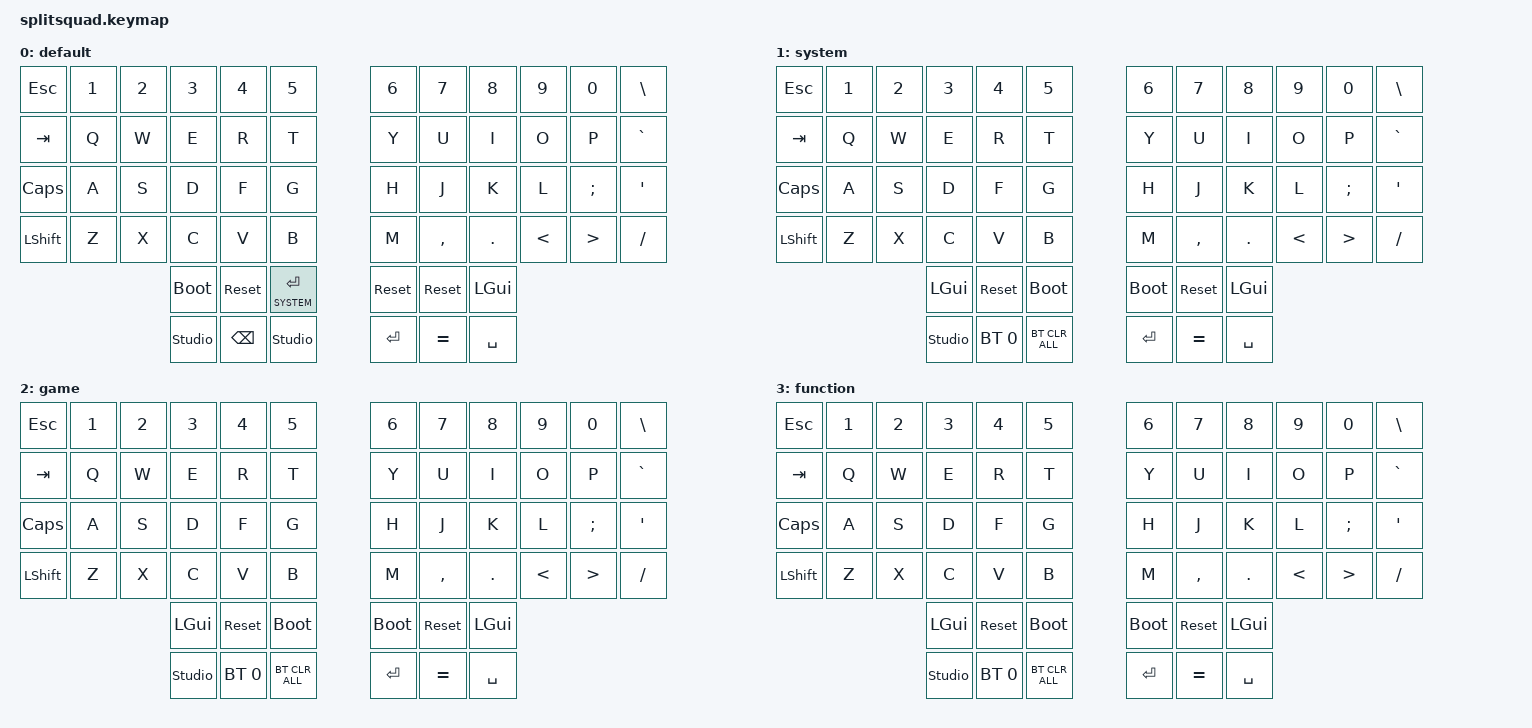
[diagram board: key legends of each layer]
/*
 * Copyright (c) 2023 The ZMK Contributors
 * SPDX-License-Identifier: MIT
 */

#include <behaviors.dtsi>
#include <dt-bindings/zmk/outputs.h>
#include <dt-bindings/zmk/keys.h>
#include <dt-bindings/zmk/bt.h>

#define DEFAULT 0
#define SYSTEM  1
#define GAME    2
#define FUNCTION 3


&lt {
    tapping-term-ms = <200>;
    flavor = "hold-preferred";
};

/ {

    keymap {
        compatible = "zmk,keymap";

        default_layer {
            display-name = "default";
            bindings = <
                    &kp ESC    &kp N1     &kp N2     &kp N3     &kp N4     &kp N5                 &kp N6     &kp N7     &kp N8     &kp N9     &kp N0     &kp BSLH
                    &kp TAB    &kp Q      &kp W      &kp E      &kp R      &kp T                  &kp Y      &kp U      &kp I      &kp O      &kp P      &kp GRAVE
                    &kp CAPS   &kp A      &kp S      &kp D      &kp F      &kp G                  &kp H      &kp J      &kp K      &kp L      &kp SEMI   &kp SQT
                    &kp LSHFT  &kp Z      &kp X      &kp C      &kp V      &kp B                  &kp M      &kp COMMA  &kp DOT    &kp LT     &kp GT     &kp SLASH
                                                     &bootloader      &sys_reset  &lt SYSTEM RET        &sys_reset &sys_reset &kp LGUI
                                                     &studio_unlock   &kp BACKSPACE &studio_unlock             &kp ENTER   &kp EQUAL  &kp SPACE
            >;
        };
        system_layer {
            display-name = "system";
            bindings = <
                    &kp ESC    &kp N1     &kp N2     &kp N3     &kp N4     &kp N5                 &kp N6     &kp N7     &kp N8     &kp N9     &kp N0     &kp BSLH
                    &kp TAB    &kp Q      &kp W      &kp E      &kp R      &kp T                  &kp Y      &kp U      &kp I      &kp O      &kp P      &kp GRAVE
                    &kp CAPS   &kp A      &kp S      &kp D      &kp F      &kp G                  &kp H      &kp J      &kp K      &kp L      &kp SEMI   &kp SQT
                    &kp LSHFT  &kp Z      &kp X      &kp C      &kp V      &kp B                  &kp M      &kp COMMA  &kp DOT    &kp LT     &kp GT     &kp SLASH
                                                     &kp LGUI   &sys_reset &bootloader                     &bootloader &sys_reset &kp LGUI
                                                     &studio_unlock    &bt BT_SEL 0 &bt BT_CLR_ALL                &kp ENTER   &kp EQUAL  &kp SPACE
            >;
        };

        game_layer {
            display-name = "game";
            bindings = <
                    &kp ESC    &kp N1     &kp N2     &kp N3     &kp N4     &kp N5                 &kp N6     &kp N7     &kp N8     &kp N9     &kp N0     &kp BSLH
                    &kp TAB    &kp Q      &kp W      &kp E      &kp R      &kp T                  &kp Y      &kp U      &kp I      &kp O      &kp P      &kp GRAVE
                    &kp CAPS   &kp A      &kp S      &kp D      &kp F      &kp G                  &kp H      &kp J      &kp K      &kp L      &kp SEMI   &kp SQT
                    &kp LSHFT  &kp Z      &kp X      &kp C      &kp V      &kp B                  &kp M      &kp COMMA  &kp DOT    &kp LT     &kp GT     &kp SLASH
                                                     &kp LGUI   &sys_reset &bootloader                     &bootloader &sys_reset &kp LGUI
                                                     &studio_unlock    &bt BT_SEL 0 &bt BT_CLR_ALL                &kp ENTER   &kp EQUAL  &kp SPACE
            >;
        };

        function_layer {
            display-name = "function";
            bindings = <
                    &kp ESC    &kp N1     &kp N2     &kp N3     &kp N4     &kp N5                 &kp N6     &kp N7     &kp N8     &kp N9     &kp N0     &kp BSLH
                    &kp TAB    &kp Q      &kp W      &kp E      &kp R      &kp T                  &kp Y      &kp U      &kp I      &kp O      &kp P      &kp GRAVE
                    &kp CAPS   &kp A      &kp S      &kp D      &kp F      &kp G                  &kp H      &kp J      &kp K      &kp L      &kp SEMI   &kp SQT
                    &kp LSHFT  &kp Z      &kp X      &kp C      &kp V      &kp B                  &kp M      &kp COMMA  &kp DOT    &kp LT     &kp GT     &kp SLASH
                                                     &kp LGUI   &sys_reset &bootloader                     &bootloader &sys_reset &kp LGUI
                                                     &studio_unlock    &bt BT_SEL 0 &bt BT_CLR_ALL                &kp ENTER   &kp EQUAL  &kp SPACE
            >;
        };


    };
};
